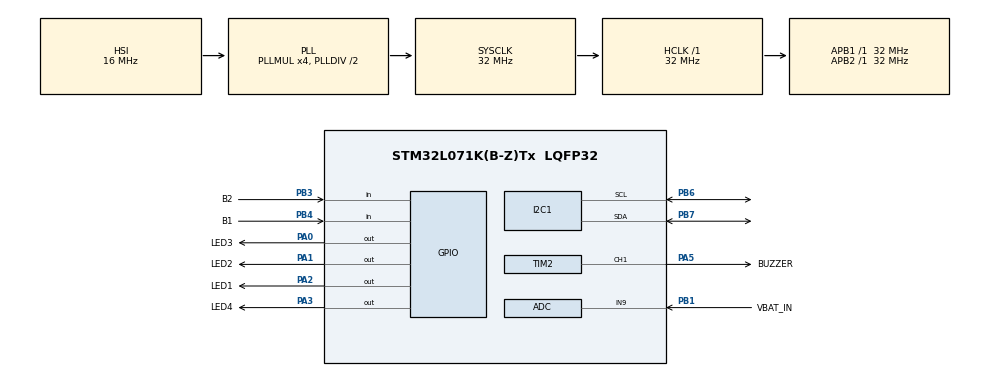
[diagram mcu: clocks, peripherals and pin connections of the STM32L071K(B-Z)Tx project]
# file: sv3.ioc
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ADC.ClockPrescaler=ADC_CLOCK_SYNC_PCLK_DIV2
ADC.ContinuousConvMode=ENABLE
ADC.SamplingTime=ADC_SAMPLETIME_79CYCLES_5
I2C1.Timing=0x00707CBB
Mcu.Family=STM32L0
Mcu.Name=STM32L071K(B-Z)Tx
Mcu.Package=LQFP32
PA0.GPIO_Label=LED3
PA0.GPIO_Speed=GPIO_SPEED_FREQ_VERY_HIGH
PA0.PinState=GPIO_PIN_SET
PA0.Signal=GPIO_Output
PA1.GPIO_Label=LED2
PA1.GPIO_Speed=GPIO_SPEED_FREQ_VERY_HIGH
PA1.PinState=GPIO_PIN_SET
PA1.Signal=GPIO_Output
PA13.Mode=Serial_Wire
PA13.Signal=SYS_SWDIO
PA14.Mode=Serial_Wire
PA14.Signal=SYS_SWCLK
PA2.GPIO_Label=LED1
PA2.GPIO_Speed=GPIO_SPEED_FREQ_VERY_HIGH
PA2.PinState=GPIO_PIN_SET
PA2.Signal=GPIO_Output
PA3.GPIO_Label=LED4
PA3.GPIO_Speed=GPIO_SPEED_FREQ_VERY_HIGH
PA3.PinState=GPIO_PIN_SET
PA3.Signal=GPIO_Output
PA5.GPIO_Label=BUZZER
PA5.GPIO_Speed=GPIO_SPEED_FREQ_VERY_HIGH
PA5.Signal=S_TIM2_CH1
PB1.GPIO_Label=VBAT_IN
PB1.Mode=IN9
PB1.Signal=ADC_IN9
PB3.GPIO_Label=B2
PB3.Signal=GPIO_Input
PB4.GPIO_Label=B1
PB4.Signal=GPIO_Input
PB6.GPIO_Pu=GPIO_PULLUP
PB6.Mode=I2C
PB6.Signal=I2C1_SCL
PB7.GPIO_Pu=GPIO_PULLUP
PB7.Mode=I2C
PB7.Signal=I2C1_SDA
ProjectManager.HeapSize=0x200
ProjectManager.StackSize=0x400
ProjectManager.TargetToolchain=STM32CubeIDE
RCC.AHBFreq_Value=32000000
RCC.APB1Freq_Value=32000000
RCC.APB1TimFreq_Value=32000000
RCC.APB2Freq_Value=32000000
RCC.APB2TimFreq_Value=32000000
RCC.HCLKFreq_Value=32000000
RCC.HSI16_VALUE=16000000
RCC.HSI_VALUE=16000000
RCC.LSE_VALUE=32768
RCC.MSI_VALUE=2097000
RCC.PLLMUL=RCC_PLLMUL_4
RCC.SYSCLKFreq_VALUE=32000000
RCC.SYSCLKSource=RCC_SYSCLKSOURCE_PLLCLK
RCC.VCOOutputFreq_Value=64000000
SH.S_TIM2_CH1.0=TIM2_CH1,PWM Generation1 CH1
TIM2.AutoReloadPreload=TIM_AUTORELOAD_PRELOAD_ENABLE
TIM2.Channel-PWM\ Generation1\ CH1=TIM_CHANNEL_1
VP_ADC_TempSens_Input.Mode=IN-TempSens
board=custom

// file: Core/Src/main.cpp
/* USER CODE BEGIN Header */

/*------------------------------------------------------------------------------
 *       _____ ___    __    ________  ___   ____________
 *      / ___//   |  / /   / ____/  |/  /  /  _/  _/  _/
 *      \__ \/ /| | / /   / __/ / /|_/ /   / / / / / /
 *     ___/ / ___ |/ /___/ /___/ /  / /  _/ /_/ /_/ /
 *    /____/_/  |_/_____/_____/_/  /_/  /___/___/___/
 *
 *                                  Matthew McCardle
 *                                              2021
 *
 *------------------------------------------------------------------------------
 *
 *      RELEASE STATS
 *      FLASH:......... 25.37kb USED,  102.63KB FREE [19.82%]
 *      RAM:........... 1.89kb  USED,   18.11kb FREE [ 9.45%]
 *
 *------------------------------------------------------------------------------
 *              [ !!!! TESTED ON HARDWARE [SV3] !!!! ]
 *------------------------------------------------------------------------------
 *------------------------------------------------------------------------------
 *
 *						 Code Version 1.0.2
 *
 *------------------------------------------------------------------------------
 *------------------------------------------------------------------------------
 *
 */

/**
  ******************************************************************************
  * @file           : main.c
  * @brief          : Main program body
  ******************************************************************************
  * @attention
  *
  * <h2><center>&copy; Copyright (c) 2021 STMicroelectronics.
  * All rights reserved.</center></h2>
  *
  * This software component is licensed by ST under BSD 3-Clause license,
  * the "License"; You may not use this file except in compliance with the
  * License. You may obtain a copy of the License at:
  *                        opensource.org/licenses/BSD-3-Clause
  *
  ******************************************************************************
  */
/* USER CODE END Header */
#include "main.h"
#include "adc.h"
#include "i2c.h"
#include "tim.h"
#include "gpio.h"

/* USER CODE BEGIN Includes */

#include "system.h"
#include "FDC1004.h"
#include "buzzer.h"

/* USER CODE END Includes */

/* USER CODE BEGIN PD */

#define SAMPLE_RATE 1024

#define INITIAL_SENSITIVITY 2.0

/* USER CODE END PD */

/* USER CODE BEGIN PV */

static const int table_size       = 23;

static const uint16_t F_TABLE[23] = {  800,  900, 1000, 1100, 1200, 1400, 1600, 1700, 1800, 1900,
										 0,    0,    0,
								      2100, 2200, 2300, 2400, 2500, 2600, 2800, 3000, 3100, 3200};

static const uint8_t L_SHOW[23]   =  {0x0F, 0x07, 0x0B, 0x03, 0x05, 0x09, 0x01, 0x02, 0x04, 0x08,
		                              0x00, 0x00, 0x00,
									  0x01, 0x02, 0x04, 0x08, 0x09, 0x0A, 0x0C, 0x0D, 0x0E, 0x0F};

static const uint8_t FULL_LED_SHOW[16]  = {0x00, 0x01, 0x02, 0x03, 0x04, 0x05, 0x06, 0x07,
                                           0x08, 0x09, 0x0A, 0x0B, 0x0C, 0x0D, 0x0E, 0x0F};

static const float VBAT_MAX             = 3.0;              /* max battery voltage 1.5v * 2 [2xAA] */
static const float VBAT_THRESH          = 1.9;              /* minimum battery voltage, boost works down to ~0.9v */
static const float ALPHA                = (15.0 / 100.0);	/* EWMA Alpha value*/
static const float temp_delta 			= 2.0; 				/* temperature delta */

/* USER CODE END PV */

void SystemClock_Config(void);
/* USER CODE BEGIN PFP */

void EWMA(float *ewma, float newVal, float alpha);      /* Exponential weighted moving average function */
void setLedShow(const uint8_t *ptr, uint8_t index);     /* used led map to display cap change, kinda like gray code */
uint8_t LEDShowBat(float vbat);             			/* shows the battery voltage 0% - 100%, 4 steps */
uint8_t getCapValue(FDC1004 *ptr, float *cap);          /* gets cap value in pico F */
uint8_t readButton(uint8_t AB);                         /* returns true if button is pressed */

int calc_index(float value, float baseline, float per, int steps);
void setLedShow(uint8_t val);

/* USER CODE END PFP */

int main(void)
{

  /* MCU Configuration--------------------------------------------------------*/

  /* Reset of all peripherals, Initializes the Flash interface and the Systick. */
  HAL_Init();

  /* Configure the system clock */
  SystemClock_Config();

  /* Initialize all configured peripherals */
  MX_GPIO_Init();
  MX_ADC_Init();
  MX_I2C1_Init();
  MX_TIM2_Init();
  /* USER CODE BEGIN 2 */

  int cal_update							= 1;
  int system_update 						= 1; 					//update counter

  float capVal 								= 0; 					//raw cap value
  float smoothCap 							= 0; 					//smoothed cap value
  float base_line 							= 0; 					//Ambient capacitance
  float threshold 							= INITIAL_SENSITIVITY; 	//Sensitivity
  float threshold_percent 					= (threshold / 100.0); 	//Sensitivity %
  float ambiant_temp 						= 0; 					//temperature value

  /*********************************************************************************************/

  /* ----------- LED Awesomeness --------------- */
  setLedShow(FULL_LED_SHOW,  1);  HAL_Delay(100);
  setLedShow(FULL_LED_SHOW,  3);  HAL_Delay(100);
  setLedShow(FULL_LED_SHOW,  7);  HAL_Delay(100);
  setLedShow(FULL_LED_SHOW, 15);  HAL_Delay(100);
  setLedShow(FULL_LED_SHOW,  7);  HAL_Delay(100);
  setLedShow(FULL_LED_SHOW,  3);  HAL_Delay(100);
  setLedShow(FULL_LED_SHOW,  1);  HAL_Delay(100);
  setLedShow(FULL_LED_SHOW,  0);
 /* --------------------------------------------- */

  /* start up ADC */
  system mySys(&hadc);
  if(mySys.init() != 0)
	  Error_Handler();

  /* start up FDC1004 */
  FDC1004 FDC(FDC1004_100HZ, &hi2c1);
  if (FDC.configureMeasurementSingle(0, 0, 0))
      Error_Handler();

  /* init buzzer */
  buzzer buzz;
  if(buzz.init(&htim2, TIM_CHANNEL_1))
      Error_Handler();

  /*------- check vbat before main -------*/
  /* display battery level on led's */
  if(LEDShowBat(mySys.getVBat()) != 0)
      Error_Handler();

  /* fault if vbat < threshold */
  if(mySys.vbatCompare(VBAT_THRESH))
	  Error_Handler();

  /*******************************************/
  /* Get Baseline From FDC1004 */

  /* init baseline with reading != 0 */
  if(getCapValue(&FDC, &base_line))
      Error_Handler();

  /* read 100 samples */
  for(uint8_t i = 0; i < 100; i++) {
      if(getCapValue(&FDC, &capVal))
          Error_Handler();
      EWMA(&base_line, capVal, ALPHA);
  }
  smoothCap = base_line;
  /*********************************************************************/

  /*------- record ambient temp -------*/
  /* after x cycles the chip should be at steady thermal state */
  if(mySys.update() != 0)
	  Error_Handler();
  ambiant_temp = mySys.getTemp();

  /* ready chime */
  setLedShow(FULL_LED_SHOW, 0);
  buzz.chime(4000, 4600, 4000, 50);

  /* USER CODE END 2 */

  /* Infinite loop */
  /* USER CODE BEGIN WHILE */
  while (1)
  {
	  int SEQUENCE_ACTIVE = 0;

      /******************************************************************/
      /******************************************************************/
      /*----------------------------------------------------------------*/
      /* Read Cap Value */
      if(getCapValue(&FDC, &capVal))
          Error_Handler();

      /* smooth value */
      EWMA(&smoothCap, capVal, ALPHA);

      /* check cap value against set */
      // 0,1,2,3,4,5,6,7,8,9,10,11,12,13,14,15,16,17,18,19,20,21,22
      int _index = calc_index(smoothCap, base_line, threshold_percent, table_size);
      if((_index != 10) && (_index != 11) && (_index != 12)) {
    	  SEQUENCE_ACTIVE = 1;
      }

      setLedShow(L_SHOW[_index]);
	  if(buzz.setFreq(F_TABLE[_index]) != 0)
		  Error_Handler();

      /*----------------------------------------------------------------*/
      /******************************************************************/
      /******************************************************************/
      /*----------------------------------------------------------------*/
      /* read buttons */
      //do things 'n' stuff for button 2 [top button]
      if(readButton(2)) {

          threshold += 0.05;
          threshold_percent = (threshold / 100.0);

          if(buzz.chirp(1500, 200))
              Error_Handler();

          //while(readButton(2)); //TODO debug
      }

      //do things 'n' stuff for button 1 [bottom button]
      if(readButton(1)) {

          threshold -= 0.05;
          threshold_percent = (threshold / 100.0);

          if(buzz.chirp(1300, 200))
              Error_Handler();

          //while(readButton(1)); //TODO debug
      }

      /*----------------------------------------------------------------*/
      /******************************************************************/
      /******************************************************************/
      /*----------------------------------------------------------------*/
      /* Read ADC VBAT + RECAL */

	  if(system_update == 0)
	  {
		  if(mySys.update() != 0)
			  Error_Handler();

		  if(mySys.vbatCompare(VBAT_THRESH))
			  Error_Handler();

		  if(SEQUENCE_ACTIVE == 0)
		  {
			  float tmp = mySys.getTemp();
			  if((tmp >= (ambiant_temp + temp_delta)) || (tmp <= (ambiant_temp - temp_delta)))
			  {
				  if(tmp >= (ambiant_temp + temp_delta)) {
					  if(buzz.chime(700, 800, 900, 100)) //chime up
						  Error_Handler();
				  }
				  else {
					  if(buzz.chime(900, 800, 700, 100)) //chime down
						  Error_Handler();
				  }
				  ambiant_temp = tmp;
			  }

			  if(cal_update == 0)
			  {
				  base_line = smoothCap;
			  }
		  }
	  }

	  system_update = (system_update + 1) %  SAMPLE_RATE;    //Increment loop update
	  cal_update    = (cal_update    + 1) % (SAMPLE_RATE*4); //Increment loop update
      /*----------------------------------------------------------------*/

    /* USER CODE END WHILE */

  }
}

void SystemClock_Config(void)
{
  RCC_OscInitTypeDef RCC_OscInitStruct = {0};
  RCC_ClkInitTypeDef RCC_ClkInitStruct = {0};
  RCC_PeriphCLKInitTypeDef PeriphClkInit = {0};

  /** Configure the main internal regulator output voltage
  */
  __HAL_PWR_VOLTAGESCALING_CONFIG(PWR_REGULATOR_VOLTAGE_SCALE1);
  /** Initializes the RCC Oscillators according to the specified parameters
  * in the RCC_OscInitTypeDef structure.
  */
  RCC_OscInitStruct.OscillatorType = RCC_OSCILLATORTYPE_HSI;
  RCC_OscInitStruct.HSIState = RCC_HSI_ON;
  RCC_OscInitStruct.HSICalibrationValue = RCC_HSICALIBRATION_DEFAULT;
  RCC_OscInitStruct.PLL.PLLState = RCC_PLL_ON;
  RCC_OscInitStruct.PLL.PLLSource = RCC_PLLSOURCE_HSI;
  RCC_OscInitStruct.PLL.PLLMUL = RCC_PLLMUL_4;
  RCC_OscInitStruct.PLL.PLLDIV = RCC_PLLDIV_2;
  if (HAL_RCC_OscConfig(&RCC_OscInitStruct) != HAL_OK)
  {
    Error_Handler();
  }
  /** Initializes the CPU, AHB and APB buses clocks
  */
  RCC_ClkInitStruct.ClockType = RCC_CLOCKTYPE_HCLK|RCC_CLOCKTYPE_SYSCLK
                              |RCC_CLOCKTYPE_PCLK1|RCC_CLOCKTYPE_PCLK2;
  RCC_ClkInitStruct.SYSCLKSource = RCC_SYSCLKSOURCE_PLLCLK;
  RCC_ClkInitStruct.AHBCLKDivider = RCC_SYSCLK_DIV1;
  RCC_ClkInitStruct.APB1CLKDivider = RCC_HCLK_DIV1;
  RCC_ClkInitStruct.APB2CLKDivider = RCC_HCLK_DIV1;

  if (HAL_RCC_ClockConfig(&RCC_ClkInitStruct, FLASH_LATENCY_1) != HAL_OK)
  {
    Error_Handler();
  }
  PeriphClkInit.PeriphClockSelection = RCC_PERIPHCLK_I2C1;
  PeriphClkInit.I2c1ClockSelection = RCC_I2C1CLKSOURCE_PCLK1;
  if (HAL_RCCEx_PeriphCLKConfig(&PeriphClkInit) != HAL_OK)
  {
    Error_Handler();
  }
}

/* USER CODE BEGIN 4 */

/* calc index value based in percent */
int calc_index(float value, float baseline, float per, int steps) {
    int h = 1 - ((steps / 2) + 1);
    for (int i = h; i < steps + h; i++) {
        float b = baseline + (i * per);
        if (value < b)
            return i + (steps + h) - 1;
    }
    return steps - 1;
}

/* get new cap value */
uint8_t getCapValue(FDC1004 *ptr, float *cap) {
    uint8_t ret = 0;
    if(ptr->triggerSingleMeasurement(0, FDC1004_100HZ))
        return 1; //trigger error

      do
      {
        ret = ptr->readCap(0, cap);
        HAL_Delay(1);
      } while(ret == 2); //still processing

      return ret; //all ok
}

/* Exponentially Weighted Moving Average */
void EWMA(float *ewma, float newVal, float alpha) {
    *ewma = (1.0 - alpha) * (*ewma) + alpha * newVal;
}

/* buttons are active low, hardware debounce */
uint8_t readButton(uint8_t AB) {
    if(AB == 1) return !HAL_GPIO_ReadPin(B1_GPIO_Port, B1_Pin);
    if(AB == 2) return !HAL_GPIO_ReadPin(B2_GPIO_Port, B2_Pin);
    return 0;
}

void setLedShow(uint8_t val) {
    GPIO_PinState state;

    state = (val & 0x08) ? GPIO_PIN_RESET : GPIO_PIN_SET;
    HAL_GPIO_WritePin(LED4_GPIO_Port, LED4_Pin, state);

    state = (val & 0x04) ? GPIO_PIN_RESET : GPIO_PIN_SET;
    HAL_GPIO_WritePin(LED1_GPIO_Port, LED1_Pin, state);

    state = (val & 0x02) ? GPIO_PIN_RESET : GPIO_PIN_SET;
    HAL_GPIO_WritePin(LED2_GPIO_Port, LED2_Pin, state);

    state = (val & 0x01) ? GPIO_PIN_RESET : GPIO_PIN_SET;
    HAL_GPIO_WritePin(LED3_GPIO_Port, LED3_Pin, state);
}

void setLedShow(const uint8_t *ptr, uint8_t index) {
    GPIO_PinState state;

    state = (ptr[index] & 0x08) ? GPIO_PIN_RESET : GPIO_PIN_SET;
    HAL_GPIO_WritePin(LED4_GPIO_Port, LED4_Pin, state);

    state = (ptr[index] & 0x04) ? GPIO_PIN_RESET : GPIO_PIN_SET;
    HAL_GPIO_WritePin(LED1_GPIO_Port, LED1_Pin, state);

    state = (ptr[index] & 0x02) ? GPIO_PIN_RESET : GPIO_PIN_SET;
    HAL_GPIO_WritePin(LED2_GPIO_Port, LED2_Pin, state);

    state = (ptr[index] & 0x01) ? GPIO_PIN_RESET : GPIO_PIN_SET;
    HAL_GPIO_WritePin(LED3_GPIO_Port, LED3_Pin, state);
}

uint8_t LEDShowBat(float vbat) {
    float _div = (VBAT_MAX - VBAT_THRESH) / 4.0;

    uint8_t bat_led[5] = { 0, 1, 3, 7, 15 };
    float bat_check[5] = { (float) (VBAT_THRESH + _div * 0.0),
                           (float) (VBAT_THRESH + _div * 1.0),
                           (float) (VBAT_THRESH + _div * 2.0),
                           (float) (VBAT_THRESH + _div * 3.0),
                           (float) (VBAT_THRESH + _div * 4.0)};

    for(int i = 0; i < 5; i++) {
        if((vbat < bat_check[i]) || i == 4) {
            setLedShow(FULL_LED_SHOW, bat_led[i]);
            break;
        }
    }

    HAL_Delay(800);
    return 0;
}

/* USER CODE END 4 */

void Error_Handler(void)
{
  /* USER CODE BEGIN Error_Handler_Debug */
  /* User can add his own implementation to report the HAL error return state */

	HAL_TIM_PWM_Stop(&htim2, TIM_CHANNEL_1); //kill buzzer

	while(1) {
		  setLedShow(FULL_LED_SHOW, 10);   HAL_Delay(300);
		  setLedShow(FULL_LED_SHOW, 5);    HAL_Delay(300);
	}

  __disable_irq();

  while (1)
  {

  }
  /* USER CODE END Error_Handler_Debug */
}

/************************ (C) COPYRIGHT STMicroelectronics *****END OF FILE****/
